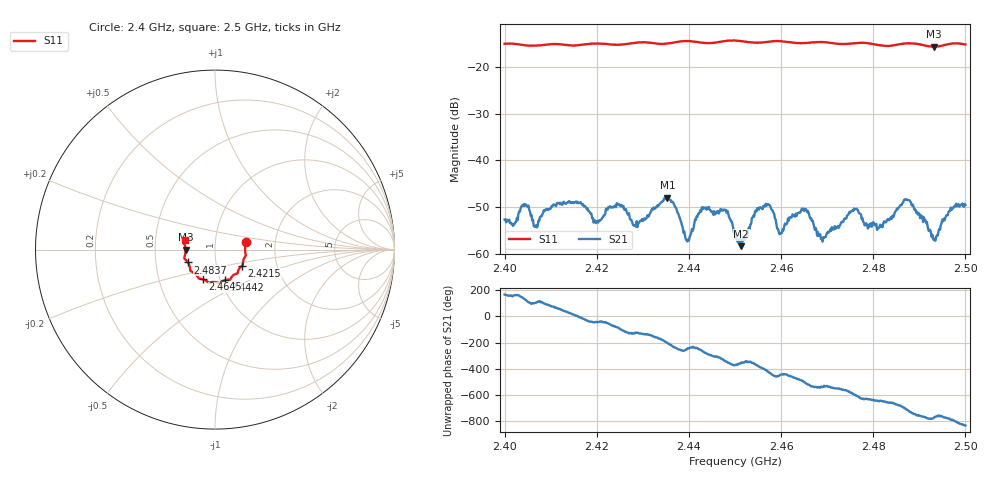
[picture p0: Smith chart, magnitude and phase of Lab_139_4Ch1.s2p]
# Hz S RI R 50
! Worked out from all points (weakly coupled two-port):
!   601 points, 2.4 GHz to 2.5 GHz, reference 50 ohm
!   highest |S21| = -47.96 dB at 2.4353 GHz (marker M1); lowest = -58.3 dB at 2.4513 GHz (marker M2)
!   lowest |S11| = -15.7 dB at 2.4932 GHz (marker M3), VSWR 1.39, Z = 35.9 - j0.0489 ohm
!   |S11| at or under -10 dB: start of sweep to end of sweep
!   S12 and S22 are empty: the file has one direction only
!   S11 on the Smith chart (normalised r, x): 2.4 GHz: 1.41, +0.12; 2.4215 GHz: 1.33, -0.25; 2.4442 GHz: 1.05, -0.37; 2.4645 GHz: 0.83, -0.29; 2.4837 GHz: 0.73, -0.11; 2.5 GHz: 0.71, +0.07
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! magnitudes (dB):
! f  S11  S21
! 2.4 GHz  -15.1  -52.7
! 2.4167 GHz  -15.3  -49.3
! 2.4215 GHz  -15.1  -51.8
! 2.4248 GHz  -15.3  -49.4
! 2.4283 GHz  -14.9  -53.8
! 2.4333 GHz  -15.1  -49.8
! 2.4353 GHz  -15.1  -48.0
! 2.4397 GHz  -14.5  -57.3
! 2.4442 GHz  -15.0  -50.3
! 2.45 GHz  -14.4  -56.0
! 2.4513 GHz  -14.5  -58.3
! 2.455 GHz  -14.9  -50.2
! 2.46 GHz  -14.6  -55.6
! 2.4645 GHz  -15.0  -50.3
! 2.4667 GHz  -14.8  -52.9
! 2.4692 GHz  -14.7  -56.4
! 2.476 GHz  -15.0  -50.5
! 2.4833 GHz  -15.6  -52.8
! 2.4837 GHz  -15.5  -52.4
! 2.4877 GHz  -15.0  -48.5
! 2.4932 GHz  -15.7  -56.7
! 2.5 GHz  -15.3  -49.5
